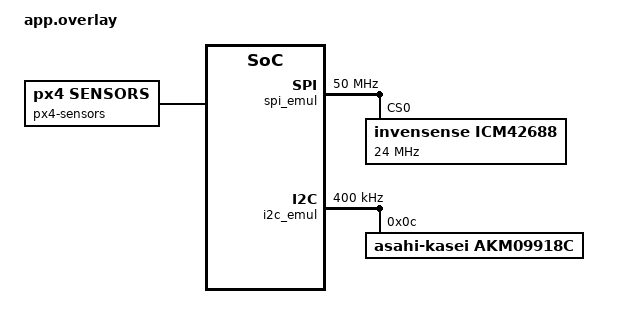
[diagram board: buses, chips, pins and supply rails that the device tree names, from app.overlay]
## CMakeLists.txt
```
############################################################################
#
#   Copyright (c) 2026 PX4 Development Team. All rights reserved.
#
# Redistribution and use in source and binary forms, with or without
# modification, are permitted provided that the following conditions
# are met:
#
# 1. Redistributions of source code must retain the above copyright
#    notice, this list of conditions and the following disclaimer.
# 2. Redistributions in binary form must reproduce the above copyright
#    notice, this list of conditions and the following disclaimer in
#    the documentation and/or other materials provided with the
#    distribution.
# 3. Neither the name PX4 nor the names of its contributors may be
#    used to endorse or promote products derived from this software
#    without specific prior written permission.
#
# THIS SOFTWARE IS PROVIDED BY THE COPYRIGHT HOLDERS AND CONTRIBUTORS
# "AS IS" AND ANY EXPRESS OR IMPLIED WARRANTIES, INCLUDING, BUT NOT
# LIMITED TO, THE IMPLIED WARRANTIES OF MERCHANTABILITY AND FITNESS
# FOR A PARTICULAR PURPOSE ARE DISCLAIMED. IN NO EVENT SHALL THE
# COPYRIGHT OWNER OR CONTRIBUTORS BE LIABLE FOR ANY DIRECT, INDIRECT,
# INCIDENTAL, SPECIAL, EXEMPLARY, OR CONSEQUENTIAL DAMAGES (INCLUDING,
# BUT NOT LIMITED TO, PROCUREMENT OF SUBSTITUTE GOODS OR SERVICES; LOSS
# OF USE, DATA, OR PROFITS; OR BUSINESS INTERRUPTION) HOWEVER CAUSED
# AND ON ANY THEORY OF LIABILITY, WHETHER IN CONTRACT, STRICT
# LIABILITY, OR TORT (INCLUDING NEGLIGENCE OR OTHERWISE) ARISING IN
# ANY WAY OUT OF THE USE OF THIS SOFTWARE, EVEN IF ADVISED OF THE
# POSSIBILITY OF SUCH DAMAGE.
#
############################################################################

cmake_minimum_required(VERSION 3.20.0)

find_package(Zephyr REQUIRED HINTS $ENV{ZEPHYR_BASE})
project(px4_sensors_test)

target_sources(app PRIVATE
	src/fake_baro.c
	src/fake_power_monitor.c
	src/icm42688_emul.c
	src/main.cpp
	src/sensor_values.c
)
target_link_libraries(app PRIVATE px4_interface)
```

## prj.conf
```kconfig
CONFIG_ZTEST=y
CONFIG_ZTEST_STACK_SIZE=4096
CONFIG_PX4=y
CONFIG_PX4_BOARD_CONFIG="zephyr_generic"
CONFIG_EMUL=y
CONFIG_FUEL_GAUGE=y
# the sensor emulators log their reads, many times a second
CONFIG_LOG_DEFAULT_LEVEL=2
CONFIG_SENSOR_LOG_LEVEL_OFF=y
```

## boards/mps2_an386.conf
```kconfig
# a 250 MHz CPU, the speed of a flight controller, to read the FIFO of an IMU at 8 kHz
CONFIG_QEMU_ICOUNT=y
CONFIG_QEMU_ICOUNT_SHIFT=2
```

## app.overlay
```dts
#include <dt-bindings/px4/rotation.h>

/ {
	spi_emul: spi@b0000000 {
		compatible = "zephyr,spi-emul-controller";
		reg = <0xb0000000 0x100>;
		clock-frequency = <50000000>;
		#address-cells = <1>;
		#size-cells = <0>;

		icm42688: icm42688@0 {
			compatible = "invensense,icm42688", "invensense,icm4268x";
			reg = <0>;
			spi-max-frequency = <24000000>;
		};
	};

	i2c_emul: i2c@b0000100 {
		compatible = "zephyr,i2c-emul-controller";
		reg = <0xb0000100 0x100>;
		clock-frequency = <400000>;
		#address-cells = <1>;
		#size-cells = <0>;

		akm09918c: akm09918c@c {
			compatible = "asahi-kasei,akm09918c";
			reg = <0xc>;
		};
	};

	baro: baro {
		compatible = "vnd,baro";
	};

	px4-sensors {
		compatible = "px4,sensors";

		imu0 {
			sensor = <&icm42688>;
			type = "imu";
			rotation = <PX4_ROTATION_YAW_90>;
		};

		mag0 {
			sensor = <&akm09918c>;
			type = "mag";
			external;
		};

		baro0 {
			sensor = <&baro>;
			type = "baro";
		};
	};
};
```

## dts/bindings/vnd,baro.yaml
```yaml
description: Barometer whose readings are set by the test

compatible: "vnd,baro"
```

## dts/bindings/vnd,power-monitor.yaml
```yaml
description: Power monitor whose readings are set by the test

compatible: "vnd,power-monitor"
```

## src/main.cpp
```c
/****************************************************************************
 *
 *   Copyright (c) 2026 PX4 Development Team. All rights reserved.
 *
 * Redistribution and use in source and binary forms, with or without
 * modification, are permitted provided that the following conditions
 * are met:
 *
 * 1. Redistributions of source code must retain the above copyright
 *    notice, this list of conditions and the following disclaimer.
 * 2. Redistributions in binary form must reproduce the above copyright
 *    notice, this list of conditions and the following disclaimer in
 *    the documentation and/or other materials provided with the
 *    distribution.
 * 3. Neither the name PX4 nor the names of its contributors may be
 *    used to endorse or promote products derived from this software
 *    without specific prior written permission.
 *
 * THIS SOFTWARE IS PROVIDED BY THE COPYRIGHT HOLDERS AND CONTRIBUTORS
 * "AS IS" AND ANY EXPRESS OR IMPLIED WARRANTIES, INCLUDING, BUT NOT
 * LIMITED TO, THE IMPLIED WARRANTIES OF MERCHANTABILITY AND FITNESS
 * FOR A PARTICULAR PURPOSE ARE DISCLAIMED. IN NO EVENT SHALL THE
 * COPYRIGHT OWNER OR CONTRIBUTORS BE LIABLE FOR ANY DIRECT, INDIRECT,
 * INCIDENTAL, SPECIAL, EXEMPLARY, OR CONSEQUENTIAL DAMAGES (INCLUDING,
 * BUT NOT LIMITED TO, PROCUREMENT OF SUBSTITUTE GOODS OR SERVICES; LOSS
 * OF USE, DATA, OR PROFITS; OR BUSINESS INTERRUPTION) HOWEVER CAUSED
 * AND ON ANY THEORY OF LIABILITY, WHETHER IN CONTRACT, STRICT
 * LIABILITY, OR TORT (INCLUDING NEGLIGENCE OR OTHERWISE) ARISING IN
 * ANY WAY OUT OF THE USE OF THIS SOFTWARE, EVEN IF ADVISED OF THE
 * POSSIBILITY OF SUCH DAMAGE.
 *
 ****************************************************************************/

#include "sensor_values.h"

#include <drivers/drv_hrt.h>
#include <drivers/drv_sensor.h>
#include <lib/drivers/device/Device.hpp>
#include <mathlib/mathlib.h>
#include <parameters/param.h>
#include <px4_zephyr.h>
#include <uORB/Subscription.hpp>
#include <uORB/SubscriptionMultiArray.hpp>
#include <uORB/topics/battery_status.h>
#include <uORB/topics/sensor_accel.h>
#include <uORB/topics/sensor_baro.h>
#include <uORB/topics/sensor_gyro.h>
#include <uORB/topics/sensor_mag.h>

#include <zephyr/ztest.h>

static constexpr float ACCEL[3] {1.f, -2.f, 9.81f};
static constexpr float GYRO[3] {0.5f, -0.25f, 1.f};
static constexpr float MAG[3] {0.2f, -0.1f, -0.4f};
static constexpr float PRESSURE_KPA{101.325f};
static constexpr float TEMPERATURE{21.5f};
static constexpr float VOLTAGE{16.f};
static constexpr float CURRENT{12.5f};
static constexpr float FUEL_GAUGE_VOLTAGE{22.2f};
static constexpr float FUEL_GAUGE_CURRENT{30.f};

// sensor resolutions: ICM42688 at +-16 g and +-2000 dps, AK09918 0.15 uT
static constexpr float ACCEL_TOLERANCE{0.01f};
static constexpr float GYRO_TOLERANCE{0.002f};
static constexpr float MAG_TOLERANCE{0.003f};
static constexpr float PRESSURE_TOLERANCE{1.f};
static constexpr float TEMPERATURE_TOLERANCE{0.01f};
static constexpr float POWER_TOLERANCE{0.001f};

// longer than the 100 ms between the readings of a power monitor
static constexpr int SAMPLE_TIMEOUT_MS{200};

template<typename T>
static bool wait_for_sample(const orb_metadata *meta, T &sample, hrt_abstime after = 0)
{
	uORB::Subscription subscription{meta};

	for (int i = 0; i < SAMPLE_TIMEOUT_MS; i++) {
		if (subscription.update(&sample) && sample.timestamp >= after) {
			return true;
		}

		k_sleep(K_MSEC(1));
	}

	return false;
}

// a battery_status sample of a battery, from any instance of the topic
template<typename Condition>
static bool wait_for_battery(uint8_t id, battery_status_s &battery, int timeout_ms, Condition condition)
{
	uORB::SubscriptionMultiArray<battery_status_s> subscriptions{ORB_ID::battery_status};

	for (int i = 0; i < timeout_ms; i++) {
		for (auto &subscription : subscriptions) {
			if (subscription.update(&battery) && (battery.id == id) && condition(battery)) {
				return true;
			}
		}

		k_sleep(K_MSEC(1));
	}

	return false;
}

static uint32_t device_id(device::Device::DeviceBusType bus_type, uint8_t bus, uint8_t address, uint8_t devtype)
{
	device::Device::DeviceId id{};
	id.devid_s.bus_type = bus_type;
	id.devid_s.bus = bus;
	id.devid_s.address = address;
	id.devid_s.devtype = devtype;
	return id.devid;
}

static int run(const char *command)
{
	char buffer[64];
	strncpy(buffer, command, sizeof(buffer) - 1);
	buffer[sizeof(buffer) - 1] = '\0';

	char *argv[4] {};
	int argc = 0;
	char *saveptr = nullptr;

	for (char *token = strtok_r(buffer, " ", &saveptr); token != nullptr && argc < 4;
	     token = strtok_r(nullptr, " ", &saveptr)) {
		argv[argc++] = token;
	}

	return px4_zephyr_run_command(argc, argv);
}

static void *setup(void)
{
	zassert_ok(px4_zephyr_init());

	// the power monitor measures battery 2, which is published if its source is a power module
	const int32_t power_module = 0;
	zassert_ok(param_set(param_find("BAT2_SOURCE"), &power_module));

	// the magnetometers are initialized, and reset, when zephyr_sensors starts
	zassert_ok(run("zephyr_sensors start"));

	zassert_ok(sensor_values_set_imu(ACCEL, GYRO));
	zassert_ok(sensor_values_set_mag(MAG));
	sensor_values_set_baro(PRESSURE_KPA, TEMPERATURE);
	sensor_values_set_power(VOLTAGE, CURRENT);

	// wait for the sensors to be read with these values
	k_sleep(K_MSEC(SAMPLE_TIMEOUT_MS));

	return nullptr;
}

static void teardown(void *fixture)
{
	run("zephyr_sensors stop");
}

ZTEST(px4_sensors, test_imu)
{
	sensor_accel_s accel{};
	zassert_true(wait_for_sample(ORB_ID(sensor_accel), accel));

	// rotated by PX4_ROTATION_YAW_90
	zassert_within(accel.x, -ACCEL[1], ACCEL_TOLERANCE, "x %f", (double)accel.x);
	zassert_within(accel.y, ACCEL[0], ACCEL_TOLERANCE, "y %f", (double)accel.y);
	zassert_within(accel.z, ACCEL[2], ACCEL_TOLERANCE, "z %f", (double)accel.z);
	zassert_equal(accel.device_id, device_id(device::Device::DeviceBusType_SPI, 1, 0, DRV_IMU_DEVTYPE_ICM42688P));
	zassert_false(accel.is_external);
	zassert_true(accel.timestamp_sample <= accel.timestamp);
	zassert_true(PX4_ISFINITE(accel.temperature));

	sensor_gyro_s gyro{};
	zassert_true(wait_for_sample(ORB_ID(sensor_gyro), gyro));

	zassert_within(gyro.x, -GYRO[1], GYRO_TOLERANCE, "x %f", (double)gyro.x);
	zassert_within(gyro.y, GYRO[0], GYRO_TOLERANCE, "y %f", (double)gyro.y);
	zassert_within(gyro.z, GYRO[2], GYRO_TOLERANCE, "z %f", (double)gyro.z);
	zassert_equal(gyro.device_id, accel.device_id);
}

ZTEST(px4_sensors, test_imu_interval)
{
	// the IMU is read on time while the barometer, on another bus, converts
	uORB::Subscription subscription{ORB_ID(sensor_accel)};
	sensor_accel_s accel{};
	const hrt_abstime start = hrt_absolute_time();
	hrt_abstime last_sample = 0;
	hrt_abstime max_interval = 0;
	int samples = 0;

	// the queue of sensor_accel holds the samples of more than 4 ms
	for (int i = 0; i < SAMPLE_TIMEOUT_MS / 4; i++) {
		while (subscription.update(&accel)) {
			// the samples before the test, while the test framework printed to the console, which
			// blocks the other threads on hardware, don't count
			if (accel.timestamp_sample < start) {
				continue;
			}

			if (last_sample != 0) {
				max_interval = math::max(max_interval, accel.timestamp_sample - last_sample);
			}

			last_sample = accel.timestamp_sample;
			samples++;
		}

		k_sleep(K_MSEC(4));
	}

	zassert_true(samples > 10, "%d samples", samples);
	zassert_true(max_interval < BARO_CONVERSION_TIME_MS * 1000, "%" PRIu64 " us between samples", max_interval);
}

static void check_mag(hrt_abstime after = 0)
{
	sensor_mag_s mag{};
	zassert_true(wait_for_sample(ORB_ID(sensor_mag), mag, after));

	zassert_within(mag.x, MAG[0], MAG_TOLERANCE, "x %f", (double)mag.x);
	zassert_within(mag.y, MAG[1], MAG_TOLERANCE, "y %f", (double)mag.y);
	zassert_within(mag.z, MAG[2], MAG_TOLERANCE, "z %f", (double)mag.z);
	zassert_equal(mag.device_id, device_id(device::Device::DeviceBusType_I2C, 1, 0xc, DRV_MAG_DEVTYPE_AK09918));
	zassert_true(mag.is_external);
}

ZTEST(px4_sensors, test_mag)
{
	check_mag();
}

ZTEST(px4_sensors, test_absent_sensor)
{
	zassert_false(device_is_ready(DEVICE_DT_GET(DT_NODELABEL(ist8310))));

	k_sleep(K_MSEC(SAMPLE_TIMEOUT_MS));
	zassert_false(uORB::Subscription(ORB_ID(sensor_mag), 1).advertised());
}

ZTEST(px4_sensors, test_restart)
{
	// the optional sensors are found again, without a second initialization
	zassert_ok(run("zephyr_sensors stop"));

	const hrt_abstime restart = hrt_absolute_time();
	zassert_ok(run("zephyr_sensors start"));

	// the emulator has a new sample when it is set
	zassert_ok(sensor_values_set_mag(MAG));
	check_mag(restart);
}

ZTEST(px4_sensors, test_baro)
{
	sensor_baro_s baro{};
	zassert_true(wait_for_sample(ORB_ID(sensor_baro), baro));

	zassert_within(baro.pressure, PRESSURE_KPA * 1000.f, PRESSURE_TOLERANCE, "pressure %f", (double)baro.pressure);
	zassert_within(baro.temperature, TEMPERATURE, TEMPERATURE_TOLERANCE, "temperature %f", (double)baro.temperature);
	zassert_equal(baro.device_id, device_id(device::Device::DeviceBusType_UNKNOWN, 0, 0, DRV_DEVTYPE_UNUSED),
		      "device id 0x%" PRIx32, baro.device_id);
}

ZTEST(px4_sensors, test_power_monitor)
{
	const hrt_abstime after = hrt_absolute_time();
	battery_status_s battery{};
	zassert_true(wait_for_battery(2, battery, SAMPLE_TIMEOUT_MS, [after](const battery_status_s & status) {
		return status.timestamp >= after;
	}));

	zassert_true(battery.connected);
	zassert_within(battery.voltage_v, VOLTAGE, POWER_TOLERANCE, "voltage %f", (double)battery.voltage_v);
	zassert_within(battery.current_a, CURRENT, POWER_TOLERANCE, "current %f", (double)battery.current_a);
	zassert_equal(battery.id, 2);
	zassert_equal(battery.source, battery_status_s::SOURCE_POWER_MODULE);
}

ZTEST(px4_sensors, test_power_monitor_lost)
{
	sensor_values_set_power_lost(true);

	// the battery is disconnected when its power monitor can't be read for 2 s
	battery_status_s battery{};
	const bool disconnected = wait_for_battery(2, battery, 3000, [](const battery_status_s & status) {
		return !status.connected;
	});

	sensor_values_set_power_lost(false);

	zassert_true(disconnected);
	zassert_equal(battery.voltage_v, 0.f);
	zassert_equal(battery.current_a, -1.f);
}

ZTEST(px4_sensors, test_fuel_gauge)
{
	// the emulated fuel gauge is reset after each test
	zassert_ok(sensor_values_set_fuel_gauge(FUEL_GAUGE_VOLTAGE, -FUEL_GAUGE_CURRENT));

	const hrt_abstime after = hrt_absolute_time();
	battery_status_s battery{};
	zassert_true(wait_for_battery(1, battery, SAMPLE_TIMEOUT_MS, [after](const battery_status_s & status) {
		return status.timestamp >= after;
	}));

	zassert_true(battery.connected);
	zassert_within(battery.voltage_v, FUEL_GAUGE_VOLTAGE, POWER_TOLERANCE, "voltage %f", (double)battery.voltage_v);
	zassert_within(battery.current_a, FUEL_GAUGE_CURRENT, POWER_TOLERANCE, "current %f", (double)battery.current_a);

	// the other registers of the emulated fuel gauge read 1
	zassert_within(battery.remaining, 0.01f, 1e-6f, "remaining %f", (double)battery.remaining);
	zassert_equal(battery.warning, battery_status_s::WARNING_EMERGENCY);
	zassert_equal(battery.capacity, 1);
	zassert_equal(battery.cycle_count, 1);
	zassert_within(battery.time_remaining_s, 60.f, 1e-3f, "time remaining %f", (double)battery.time_remaining_s);
	zassert_within(battery.discharged_mah, 0.f, 1e-6f, "discharged %f", (double)battery.discharged_mah);
}

ZTEST_SUITE(px4_sensors, NULL, setup, NULL, NULL, teardown);
```

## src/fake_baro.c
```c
/****************************************************************************
 *
 *   Copyright (c) 2026 PX4 Development Team. All rights reserved.
 *
 * Redistribution and use in source and binary forms, with or without
 * modification, are permitted provided that the following conditions
 * are met:
 *
 * 1. Redistributions of source code must retain the above copyright
 *    notice, this list of conditions and the following disclaimer.
 * 2. Redistributions in binary form must reproduce the above copyright
 *    notice, this list of conditions and the following disclaimer in
 *    the documentation and/or other materials provided with the
 *    distribution.
 * 3. Neither the name PX4 nor the names of its contributors may be
 *    used to endorse or promote products derived from this software
 *    without specific prior written permission.
 *
 * THIS SOFTWARE IS PROVIDED BY THE COPYRIGHT HOLDERS AND CONTRIBUTORS
 * "AS IS" AND ANY EXPRESS OR IMPLIED WARRANTIES, INCLUDING, BUT NOT
 * LIMITED TO, THE IMPLIED WARRANTIES OF MERCHANTABILITY AND FITNESS
 * FOR A PARTICULAR PURPOSE ARE DISCLAIMED. IN NO EVENT SHALL THE
 * COPYRIGHT OWNER OR CONTRIBUTORS BE LIABLE FOR ANY DIRECT, INDIRECT,
 * INCIDENTAL, SPECIAL, EXEMPLARY, OR CONSEQUENTIAL DAMAGES (INCLUDING,
 * BUT NOT LIMITED TO, PROCUREMENT OF SUBSTITUTE GOODS OR SERVICES; LOSS
 * OF USE, DATA, OR PROFITS; OR BUSINESS INTERRUPTION) HOWEVER CAUSED
 * AND ON ANY THEORY OF LIABILITY, WHETHER IN CONTRACT, STRICT
 * LIABILITY, OR TORT (INCLUDING NEGLIGENCE OR OTHERWISE) ARISING IN
 * ANY WAY OUT OF THE USE OF THIS SOFTWARE, EVEN IF ADVISED OF THE
 * POSSIBILITY OF SUCH DAMAGE.
 *
 ****************************************************************************/

/*
 * Barometer that only implements the sensor fetch and get API, to test the
 * RTIO fallback of the Zephyr sensor API.
 */

#define DT_DRV_COMPAT vnd_baro

#include <zephyr/device.h>
#include <zephyr/drivers/sensor.h>

struct fake_baro_data {
	struct sensor_value pressure;
	struct sensor_value temperature;
};

void fake_baro_set(const struct device *dev, float pressure_kpa, float temperature)
{
	struct fake_baro_data *data = dev->data;

	sensor_value_from_float(&data->pressure, pressure_kpa);
	sensor_value_from_float(&data->temperature, temperature);
}

static int fake_baro_sample_fetch(const struct device *dev, enum sensor_channel chan)
{
	return 0;
}

static int fake_baro_channel_get(const struct device *dev, enum sensor_channel chan,
				 struct sensor_value *val)
{
	const struct fake_baro_data *data = dev->data;

	switch (chan) {
	case SENSOR_CHAN_PRESS:
		*val = data->pressure;
		return 0;

	case SENSOR_CHAN_AMBIENT_TEMP:
		*val = data->temperature;
		return 0;

	default:
		return -ENOTSUP;
	}
}

static DEVICE_API(sensor, fake_baro_api) = {
	.sample_fetch = fake_baro_sample_fetch,
	.channel_get = fake_baro_channel_get,
};

#define FAKE_BARO_DEFINE(inst)                                                                     \
	static struct fake_baro_data fake_baro_data_##inst;                                        \
	SENSOR_DEVICE_DT_INST_DEFINE(inst, NULL, NULL, &fake_baro_data_##inst, NULL, POST_KERNEL,  \
				     CONFIG_SENSOR_INIT_PRIORITY, &fake_baro_api);

DT_INST_FOREACH_STATUS_OKAY(FAKE_BARO_DEFINE)
```

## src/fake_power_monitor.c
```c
/****************************************************************************
 *
 *   Copyright (c) 2026 PX4 Development Team. All rights reserved.
 *
 * Redistribution and use in source and binary forms, with or without
 * modification, are permitted provided that the following conditions
 * are met:
 *
 * 1. Redistributions of source code must retain the above copyright
 *    notice, this list of conditions and the following disclaimer.
 * 2. Redistributions in binary form must reproduce the above copyright
 *    notice, this list of conditions and the following disclaimer in
 *    the documentation and/or other materials provided with the
 *    distribution.
 * 3. Neither the name PX4 nor the names of its contributors may be
 *    used to endorse or promote products derived from this software
 *    without specific prior written permission.
 *
 * THIS SOFTWARE IS PROVIDED BY THE COPYRIGHT HOLDERS AND CONTRIBUTORS
 * "AS IS" AND ANY EXPRESS OR IMPLIED WARRANTIES, INCLUDING, BUT NOT
 * LIMITED TO, THE IMPLIED WARRANTIES OF MERCHANTABILITY AND FITNESS
 * FOR A PARTICULAR PURPOSE ARE DISCLAIMED. IN NO EVENT SHALL THE
 * COPYRIGHT OWNER OR CONTRIBUTORS BE LIABLE FOR ANY DIRECT, INDIRECT,
 * INCIDENTAL, SPECIAL, EXEMPLARY, OR CONSEQUENTIAL DAMAGES (INCLUDING,
 * BUT NOT LIMITED TO, PROCUREMENT OF SUBSTITUTE GOODS OR SERVICES; LOSS
 * OF USE, DATA, OR PROFITS; OR BUSINESS INTERRUPTION) HOWEVER CAUSED
 * AND ON ANY THEORY OF LIABILITY, WHETHER IN CONTRACT, STRICT
 * LIABILITY, OR TORT (INCLUDING NEGLIGENCE OR OTHERWISE) ARISING IN
 * ANY WAY OUT OF THE USE OF THIS SOFTWARE, EVEN IF ADVISED OF THE
 * POSSIBILITY OF SUCH DAMAGE.
 *
 ****************************************************************************/


/*
 * Power monitor that only implements the sensor fetch and get API, as the
 * Zephyr INA2xx drivers.
 */

#define DT_DRV_COMPAT vnd_power_monitor

#include <zephyr/device.h>
#include <zephyr/drivers/sensor.h>

struct fake_power_monitor_data {
	struct sensor_value voltage;
	struct sensor_value current;
	bool lost;
};

void fake_power_monitor_set(const struct device *dev, float voltage, float current)
{
	struct fake_power_monitor_data *data = dev->data;

	sensor_value_from_float(&data->voltage, voltage);
	sensor_value_from_float(&data->current, current);
}

void fake_power_monitor_set_lost(const struct device *dev, bool lost)
{
	struct fake_power_monitor_data *data = dev->data;

	data->lost = lost;
}

static int fake_power_monitor_sample_fetch(const struct device *dev, enum sensor_channel chan)
{
	const struct fake_power_monitor_data *data = dev->data;

	return data->lost ? -EIO : 0;
}

static int fake_power_monitor_channel_get(const struct device *dev, enum sensor_channel chan,
		struct sensor_value *val)
{
	const struct fake_power_monitor_data *data = dev->data;

	switch (chan) {
	case SENSOR_CHAN_VOLTAGE:
		*val = data->voltage;
		return 0;

	case SENSOR_CHAN_CURRENT:
		*val = data->current;
		return 0;

	default:
		return -ENOTSUP;
	}
}

static DEVICE_API(sensor, fake_power_monitor_api) = {
	.sample_fetch = fake_power_monitor_sample_fetch,
	.channel_get = fake_power_monitor_channel_get,
};

#define FAKE_POWER_MONITOR_DEFINE(inst)                                                            \
	static struct fake_power_monitor_data fake_power_monitor_data_##inst;                      \
	SENSOR_DEVICE_DT_INST_DEFINE(inst, NULL, NULL, &fake_power_monitor_data_##inst, NULL,      \
				     POST_KERNEL, CONFIG_SENSOR_INIT_PRIORITY,                     \
				     &fake_power_monitor_api);

DT_INST_FOREACH_STATUS_OKAY(FAKE_POWER_MONITOR_DEFINE)
```

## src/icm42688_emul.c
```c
/****************************************************************************
 *
 *   Copyright (c) 2026 PX4 Development Team. All rights reserved.
 *
 * Redistribution and use in source and binary forms, with or without
 * modification, are permitted provided that the following conditions
 * are met:
 *
 * 1. Redistributions of source code must retain the above copyright
 *    notice, this list of conditions and the following disclaimer.
 * 2. Redistributions in binary form must reproduce the above copyright
 *    notice, this list of conditions and the following disclaimer in
 *    the documentation and/or other materials provided with the
 *    distribution.
 * 3. Neither the name PX4 nor the names of its contributors may be
 *    used to endorse or promote products derived from this software
 *    without specific prior written permission.
 *
 * THIS SOFTWARE IS PROVIDED BY THE COPYRIGHT HOLDERS AND CONTRIBUTORS
 * "AS IS" AND ANY EXPRESS OR IMPLIED WARRANTIES, INCLUDING, BUT NOT
 * LIMITED TO, THE IMPLIED WARRANTIES OF MERCHANTABILITY AND FITNESS
 * FOR A PARTICULAR PURPOSE ARE DISCLAIMED. IN NO EVENT SHALL THE
 * COPYRIGHT OWNER OR CONTRIBUTORS BE LIABLE FOR ANY DIRECT, INDIRECT,
 * INCIDENTAL, SPECIAL, EXEMPLARY, OR CONSEQUENTIAL DAMAGES (INCLUDING,
 * BUT NOT LIMITED TO, PROCUREMENT OF SUBSTITUTE GOODS OR SERVICES; LOSS
 * OF USE, DATA, OR PROFITS; OR BUSINESS INTERRUPTION) HOWEVER CAUSED
 * AND ON ANY THEORY OF LIABILITY, WHETHER IN CONTRACT, STRICT
 * LIABILITY, OR TORT (INCLUDING NEGLIGENCE OR OTHERWISE) ARISING IN
 * ANY WAY OUT OF THE USE OF THIS SOFTWARE, EVEN IF ADVISED OF THE
 * POSSIBILITY OF SUCH DAMAGE.
 *
 ****************************************************************************/

/*
 * ICM-42688-P emulator with a FIFO, instead of the Zephyr emulator, which has none, to test the
 * streaming of the FIFO by the icm4268x driver. The FIFO is filled at the output data rate of the
 * gyroscope with the values set by the test, as from the hardware. Its INT1 pin pulses each time
 * the FIFO watermark is reached, unless the test disables it.
 */

#define DT_DRV_COMPAT invensense_icm42688

#include <math.h>

#include <zephyr/device.h>
#include <zephyr/drivers/emul.h>
#include <zephyr/drivers/gpio.h>
#include <zephyr/drivers/gpio/gpio_emul.h>
#include <zephyr/drivers/spi.h>
#include <zephyr/drivers/spi_emul.h>
#include <zephyr/kernel.h>
#include <zephyr/spinlock.h>
#include <zephyr/sys/byteorder.h>
#include <zephyr/sys/util.h>

/* registers of bank 0 */
#define REG_DEVICE_CONFIG     0x11
#define REG_FIFO_CONFIG       0x16
#define REG_TEMP_DATA1        0x1d
#define REG_ACCEL_DATA_X1     0x1f
#define REG_GYRO_DATA_X1      0x25
#define REG_INT_STATUS        0x2d
#define REG_FIFO_COUNTH       0x2e
#define REG_FIFO_COUNTL       0x2f
#define REG_FIFO_DATA         0x30
#define REG_SIGNAL_PATH_RESET 0x4b
#define REG_GYRO_CONFIG0      0x4f
#define REG_ACCEL_CONFIG0     0x50
#define REG_FIFO_CONFIG1      0x5f
#define REG_FIFO_CONFIG2      0x60
#define REG_FIFO_CONFIG3      0x61
#define REG_INT_SOURCE0       0x65
#define REG_WHO_AM_I          0x75
#define REG_BANK_SEL          0x76
#define REG_COUNT             0x80

#define READ_BIT          BIT(7)
#define WHO_AM_I_ICM42688 0x47

#define SOFT_RESET_CONFIG BIT(0)
#define FIFO_MODE_MASK    GENMASK(7, 6)
#define FIFO_MODE_STREAM  BIT(6)
#define FIFO_FULL_INT     BIT(1)
#define FIFO_THS_INT      BIT(2)
#define DATA_RDY_INT      BIT(3)
#define RESET_DONE_INT    BIT(4)
#define FIFO_FLUSH        BIT(1)
#define FIFO_HIRES_EN     BIT(4)
#define FIFO_THS_INT1_EN  BIT(2)
#define ODR_MASK          GENMASK(3, 0)
#define FS_SEL_MASK       GENMASK(7, 5)

/* FIFO packets of accelerometer, gyroscope, temperature and timestamp */
#define FIFO_SIZE          2048
#define PACKET_SIZE        16
#define PACKET_SIZE_HIRES  20
#define PACKET_HEADER      (BIT(6) | BIT(5) | BIT(3))
#define PACKET_HEADER_20   BIT(4)
#define PACKET_EMPTY       0x80

#define G                  9.80665f
#define RADIANS_PER_DEGREE 0.0174532925f
#define HIRES_FULL_SCALE   BIT(19)
#define TEMP_SENSITIVITY   132.48f
#define TEMP_SENSITIVITY_8 2.07f

struct icm42688_emul_config {
	struct gpio_dt_spec int_gpio;
};

struct icm42688_emul_data {
	const struct emul *target;
	struct k_spinlock lock;
	struct k_timer watermark_timer;
	uint8_t reg[REG_COUNT];
	uint8_t bank;
	float accel[3];		/* m/s^2 */
	float gyro[3];		/* rad/s */
	float temperature;	/* degrees Celsius */
	bool interrupt;
	int64_t fifo_start;	/* ticks */
	uint32_t fifo_packets;	/* read or flushed since the FIFO started */
	uint32_t fifo_offset;	/* bytes read of the next packet */
	uint8_t packet[PACKET_SIZE_HIRES];
};

static uint32_t odr_hz(uint8_t config0)
{
	static const uint32_t odr[16] = {
		[1] = 32000, [2] = 16000, [3] = 8000, [4] = 4000, [5] = 2000, [6] = 1000,
		[7] = 200, [8] = 100, [9] = 50, [10] = 25, [15] = 500,
	};

	return odr[FIELD_GET(ODR_MASK, config0)];
}

static float accel_full_scale(const struct icm42688_emul_data *data)
{
	return (float)(16 >> FIELD_GET(FS_SEL_MASK, data->reg[REG_ACCEL_CONFIG0])) * G;
}

static float gyro_full_scale(const struct icm42688_emul_data *data)
{
	return 2000.f / (float)BIT(FIELD_GET(FS_SEL_MASK, data->reg[REG_GYRO_CONFIG0])) * RADIANS_PER_DEGREE;
}

static int32_t to_raw(float value, float full_scale, int32_t counts)
{
	/* the lowest count marks invalid samples */
	return CLAMP(lroundf(value / full_scale * (float)counts), 1 - counts, counts - 1);
}

static bool fifo_hires(const struct icm42688_emul_data *data)
{
	return (data->reg[REG_FIFO_CONFIG1] & FIFO_HIRES_EN) != 0;
}

static uint32_t packet_size(const struct icm42688_emul_data *data)
{
	return fifo_hires(data) ? PACKET_SIZE_HIRES : PACKET_SIZE;
}

static uint32_t watermark_packets(const struct icm42688_emul_data *data)
{
	const uint32_t watermark = data->reg[REG_FIFO_CONFIG2] | ((data->reg[REG_FIFO_CONFIG3] & 0x0f) << 8);

	return DIV_ROUND_UP(watermark, packet_size(data));
}

static bool fifo_running(const struct icm42688_emul_data *data)
{
	return (data->reg[REG_FIFO_CONFIG] & FIFO_MODE_MASK) == FIFO_MODE_STREAM;
}

/* packets in the FIFO, of which the oldest are lost when it is full */
static uint32_t fifo_count(struct icm42688_emul_data *data)
{
	if (!fifo_running(data)) {
		return 0;
	}

	const uint64_t generated = (uint64_t)(k_uptime_ticks() - data->fifo_start) *
				   odr_hz(data->reg[REG_GYRO_CONFIG0]) / CONFIG_SYS_CLOCK_TICKS_PER_SEC;
	const uint32_t capacity = FIFO_SIZE / packet_size(data);
	uint32_t count = (uint32_t)(generated - data->fifo_packets);

	if (count > capacity) {
		data->reg[REG_INT_STATUS] |= FIFO_FULL_INT;
		data->fifo_packets += count - capacity;
		data->fifo_offset = 0;
		count = capacity;
	}

	return count;
}

/* the FIFO restarts empty, and reaches its watermark every watermark samples */
static void fifo_restart(struct icm42688_emul_data *data)
{
	const uint32_t odr = odr_hz(data->reg[REG_GYRO_CONFIG0]);
	const uint32_t watermark = watermark_packets(data);

	data->fifo_start = k_uptime_ticks();
	data->fifo_packets = 0;
	data->fifo_offset = 0;

	if (fifo_running(data) && (odr > 0) && (watermark > 0)) {
		const k_timeout_t period = K_TICKS((uint64_t)watermark * CONFIG_SYS_CLOCK_TICKS_PER_SEC / odr);

		k_timer_start(&data->watermark_timer, period, period);

	} else {
		k_timer_stop(&data->watermark_timer);
	}
}

static void encode_packet(const struct icm42688_emul_data *data, uint8_t *packet)
{
	const float temperature = data->temperature - 25.f;

	if (fifo_hires(data)) {
		/* 20 bits, at the largest full scale */
		packet[0] = PACKET_HEADER | PACKET_HEADER_20;

		for (int axis = 0; axis < 3; axis++) {
			const int32_t accel = to_raw(data->accel[axis], 16.f * G, HIRES_FULL_SCALE);
			const int32_t gyro = to_raw(data->gyro[axis], 2000.f * RADIANS_PER_DEGREE, HIRES_FULL_SCALE);

			sys_put_be16((uint16_t)(accel >> 4), &packet[1 + 2 * axis]);
			sys_put_be16((uint16_t)(gyro >> 4), &packet[7 + 2 * axis]);
			packet[17 + axis] = ((accel & 0x0f) << 4) | (gyro & 0x0f);
		}

		sys_put_be16((uint16_t)lroundf(temperature * TEMP_SENSITIVITY), &packet[13]);
		sys_put_be16(0, &packet[15]);

	} else {
		packet[0] = PACKET_HEADER;

		for (int axis = 0; axis < 3; axis++) {
			sys_put_be16((uint16_t)to_raw(data->accel[axis], accel_full_scale(data), BIT(15)),
				     &packet[1 + 2 * axis]);
			sys_put_be16((uint16_t)to_raw(data->gyro[axis], gyro_full_scale(data), BIT(15)),
				     &packet[7 + 2 * axis]);
		}

		packet[13] = (uint8_t)lroundf(temperature * TEMP_SENSITIVITY_8);
		sys_put_be16(0, &packet[14]);
	}
}

static uint8_t fifo_read(struct icm42688_emul_data *data)
{
	if (data->fifo_offset == 0) {
		if (fifo_count(data) == 0) {
			return PACKET_EMPTY;
		}

		encode_packet(data, data->packet);
	}

	const uint8_t value = data->packet[data->fifo_offset++];

	if (data->fifo_offset == packet_size(data)) {
		data->fifo_offset = 0;
		data->fifo_packets++;
	}

	return value;
}

static uint8_t reg_read(struct icm42688_emul_data *data, uint8_t reg)
{
	uint8_t value[2];

	switch (reg) {
	case REG_TEMP_DATA1:
	case REG_TEMP_DATA1 + 1:
		sys_put_be16((uint16_t)lroundf((data->temperature - 25.f) * TEMP_SENSITIVITY), value);
		return value[reg - REG_TEMP_DATA1];

	case REG_ACCEL_DATA_X1 ... REG_ACCEL_DATA_X1 + 5:
		sys_put_be16((uint16_t)to_raw(data->accel[(reg - REG_ACCEL_DATA_X1) / 2], accel_full_scale(data),
					      BIT(15)), value);
		return value[(reg - REG_ACCEL_DATA_X1) % 2];

	case REG_GYRO_DATA_X1 ... REG_GYRO_DATA_X1 + 5:
		sys_put_be16((uint16_t)to_raw(data->gyro[(reg - REG_GYRO_DATA_X1) / 2], gyro_full_scale(data),
					      BIT(15)), value);
		return value[(reg - REG_GYRO_DATA_X1) % 2];

	case REG_INT_STATUS: {
			/* the interrupts are cleared when they are read */
			const uint8_t status = data->reg[REG_INT_STATUS] | DATA_RDY_INT;

			data->reg[REG_INT_STATUS] = 0;
			return status;
		}

	case REG_FIFO_COUNTH:
	case REG_FIFO_COUNTL:
		sys_put_be16((uint16_t)(fifo_count(data) * packet_size(data)), value);
		return value[reg - REG_FIFO_COUNTH];

	default:
		return (reg < REG_COUNT) ? data->reg[reg] : 0;
	}
}

static void reg_write(struct icm42688_emul_data *data, uint8_t reg, uint8_t value)
{
	if (reg == REG_BANK_SEL) {
		data->bank = value;
		return;
	}

	if ((data->bank != 0) || (reg >= REG_COUNT)) {
		return;
	}

	switch (reg) {
	case REG_DEVICE_CONFIG:
		if (value & SOFT_RESET_CONFIG) {
			memset(data->reg, 0, sizeof(data->reg));
			data->reg[REG_WHO_AM_I] = WHO_AM_I_ICM42688;
			data->reg[REG_INT_STATUS] = RESET_DONE_INT;
			fifo_restart(data);
		}

		break;

	case REG_SIGNAL_PATH_RESET:
		if (value & FIFO_FLUSH) {
			fifo_restart(data);
		}

		break;

	case REG_FIFO_CONFIG:
		data->reg[reg] = value;
		fifo_restart(data);
		break;

	default:
		data->reg[reg] = value;
		break;
	}
}

static void icm42688_emul_watermark(struct k_timer *timer)
{
	struct icm42688_emul_data *data = CONTAINER_OF(timer, struct icm42688_emul_data, watermark_timer);
	const struct icm42688_emul_config *config = data->target->cfg;
	bool pulse = false;

	K_SPINLOCK(&data->lock) {
		if (fifo_count(data) >= watermark_packets(data)) {
			data->reg[REG_INT_STATUS] |= FIFO_THS_INT;
			pulse = data->interrupt && (data->reg[REG_INT_SOURCE0] & FIFO_THS_INT1_EN);
		}
	}

	if (pulse) {
		gpio_emul_input_set(config->int_gpio.port, config->int_gpio.pin, 1);
		gpio_emul_input_set(config->int_gpio.port, config->int_gpio.pin, 0);
	}
}

void icm42688_emul_set(const struct emul *target, const float accel[3], const float gyro[3],
		       float temperature)
{
	struct icm42688_emul_data *data = target->data;

	K_SPINLOCK(&data->lock) {
		memcpy(data->accel, accel, sizeof(data->accel));
		memcpy(data->gyro, gyro, sizeof(data->gyro));
		data->temperature = temperature;
	}
}

void icm42688_emul_set_interrupt(const struct emul *target, bool enabled)
{
	struct icm42688_emul_data *data = target->data;

	K_SPINLOCK(&data->lock) {
		data->interrupt = enabled;
	}
}

static int icm42688_emul_io(const struct emul *target, const struct spi_config *config,
			    const struct spi_buf_set *tx_bufs, const struct spi_buf_set *rx_bufs)
{
	struct icm42688_emul_data *data = target->data;

	if ((tx_bufs == NULL) || (tx_bufs->count < 1) || (tx_bufs->buffers[0].len != 1)) {
		return -EINVAL;
	}

	const uint8_t address = *(const uint8_t *)tx_bufs->buffers[0].buf;
	const uint8_t reg = address & ~READ_BIT;

	/* the register address is followed by the data, as a second buffer */
	if (address & READ_BIT) {
		if ((rx_bufs == NULL) || (rx_bufs->count < 2)) {
			return -EINVAL;
		}

		uint8_t *rx = rx_bufs->buffers[1].buf;

		K_SPINLOCK(&data->lock) {
			for (size_t i = 0; i < rx_bufs->buffers[1].len; i++) {
				/* the FIFO is read from a single register */
				rx[i] = (reg == REG_FIFO_DATA) ? fifo_read(data) : reg_read(data, reg + i);
			}
		}

	} else {
		if (tx_bufs->count < 2) {
			return -EINVAL;
		}

		const uint8_t *tx = tx_bufs->buffers[1].buf;

		K_SPINLOCK(&data->lock) {
			for (size_t i = 0; i < tx_bufs->buffers[1].len; i++) {
				reg_write(data, reg + i, tx[i]);
			}
		}
	}

	return 0;
}

static const struct spi_emul_api icm42688_emul_api = {
	.io = icm42688_emul_io,
};

static int icm42688_emul_init(const struct emul *target, const struct device *parent)
{
	struct icm42688_emul_data *data = target->data;

	data->target = target;
	data->reg[REG_WHO_AM_I] = WHO_AM_I_ICM42688;
	data->interrupt = true;
	k_timer_init(&data->watermark_timer, icm42688_emul_watermark, NULL);

	return 0;
}

#define ICM42688_EMUL_DEFINE(n)                                                                    \
	static const struct icm42688_emul_config icm42688_emul_config_##n = {                      \
		.int_gpio = GPIO_DT_SPEC_INST_GET(n, int_gpios),                                   \
	};                                                                                         \
	static struct icm42688_emul_data icm42688_emul_data_##n;                                   \
	EMUL_DT_INST_DEFINE(n, icm42688_emul_init, &icm42688_emul_data_##n,                        \
			    &icm42688_emul_config_##n, &icm42688_emul_api, NULL)

DT_INST_FOREACH_STATUS_OKAY(ICM42688_EMUL_DEFINE)
```

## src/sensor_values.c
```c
/****************************************************************************
 *
 *   Copyright (c) 2026 PX4 Development Team. All rights reserved.
 *
 * Redistribution and use in source and binary forms, with or without
 * modification, are permitted provided that the following conditions
 * are met:
 *
 * 1. Redistributions of source code must retain the above copyright
 *    notice, this list of conditions and the following disclaimer.
 * 2. Redistributions in binary form must reproduce the above copyright
 *    notice, this list of conditions and the following disclaimer in
 *    the documentation and/or other materials provided with the
 *    distribution.
 * 3. Neither the name PX4 nor the names of its contributors may be
 *    used to endorse or promote products derived from this software
 *    without specific prior written permission.
 *
 * THIS SOFTWARE IS PROVIDED BY THE COPYRIGHT HOLDERS AND CONTRIBUTORS
 * "AS IS" AND ANY EXPRESS OR IMPLIED WARRANTIES, INCLUDING, BUT NOT
 * LIMITED TO, THE IMPLIED WARRANTIES OF MERCHANTABILITY AND FITNESS
 * FOR A PARTICULAR PURPOSE ARE DISCLAIMED. IN NO EVENT SHALL THE
 * COPYRIGHT OWNER OR CONTRIBUTORS BE LIABLE FOR ANY DIRECT, INDIRECT,
 * INCIDENTAL, SPECIAL, EXEMPLARY, OR CONSEQUENTIAL DAMAGES (INCLUDING,
 * BUT NOT LIMITED TO, PROCUREMENT OF SUBSTITUTE GOODS OR SERVICES; LOSS
 * OF USE, DATA, OR PROFITS; OR BUSINESS INTERRUPTION) HOWEVER CAUSED
 * AND ON ANY THEORY OF LIABILITY, WHETHER IN CONTRACT, STRICT
 * LIABILITY, OR TORT (INCLUDING NEGLIGENCE OR OTHERWISE) ARISING IN
 * ANY WAY OUT OF THE USE OF THIS SOFTWARE, EVEN IF ADVISED OF THE
 * POSSIBILITY OF SUCH DAMAGE.
 *
 ****************************************************************************/

#include "sensor_values.h"

#include <math.h>

#include <zephyr/device.h>
#include <zephyr/drivers/emul.h>
#include <zephyr/drivers/emul_sensor.h>

void fake_baro_set(const struct device *dev, float pressure_kpa, float temperature);

static int set_channel(const struct emul *emul, enum sensor_channel channel, float value)
{
	const struct sensor_chan_spec spec = {channel, 0};
	q31_t lower;
	q31_t upper;
	q31_t epsilon;
	int8_t shift;

	int ret = emul_sensor_backend_get_sample_range(emul, spec, &lower, &upper, &epsilon, &shift);

	if (ret != 0) {
		return ret;
	}

	const q31_t q31 = (q31_t)llroundf(ldexpf(value, 31 - shift));

	return emul_sensor_backend_set_channel(emul, spec, &q31, shift);
}

static int set_three_axis(const struct emul *emul, enum sensor_channel x, const float values[3])
{
	int ret = 0;

	/* the Y and Z channels follow X */
	for (int axis = 0; axis < 3 && ret == 0; axis++) {
		ret = set_channel(emul, x + axis, values[axis]);
	}

	return ret;
}

int sensor_values_set_imu(const float accel[3], const float gyro[3])
{
	const struct emul *emul = EMUL_DT_GET(DT_NODELABEL(icm42688));
	int ret = set_three_axis(emul, SENSOR_CHAN_ACCEL_X, accel);

	if (ret == 0) {
		ret = set_three_axis(emul, SENSOR_CHAN_GYRO_X, gyro);
	}

	return ret;
}

int sensor_values_set_mag(const float mag[3])
{
	return set_three_axis(EMUL_DT_GET(DT_NODELABEL(akm09918c)), SENSOR_CHAN_MAGN_X, mag);
}

void sensor_values_set_baro(float pressure_kpa, float temperature)
{
	fake_baro_set(DEVICE_DT_GET(DT_NODELABEL(baro)), pressure_kpa, temperature);
}
```

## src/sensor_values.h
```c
/****************************************************************************
 *
 *   Copyright (c) 2026 PX4 Development Team. All rights reserved.
 *
 * Redistribution and use in source and binary forms, with or without
 * modification, are permitted provided that the following conditions
 * are met:
 *
 * 1. Redistributions of source code must retain the above copyright
 *    notice, this list of conditions and the following disclaimer.
 * 2. Redistributions in binary form must reproduce the above copyright
 *    notice, this list of conditions and the following disclaimer in
 *    the documentation and/or other materials provided with the
 *    distribution.
 * 3. Neither the name PX4 nor the names of its contributors may be
 *    used to endorse or promote products derived from this software
 *    without specific prior written permission.
 *
 * THIS SOFTWARE IS PROVIDED BY THE COPYRIGHT HOLDERS AND CONTRIBUTORS
 * "AS IS" AND ANY EXPRESS OR IMPLIED WARRANTIES, INCLUDING, BUT NOT
 * LIMITED TO, THE IMPLIED WARRANTIES OF MERCHANTABILITY AND FITNESS
 * FOR A PARTICULAR PURPOSE ARE DISCLAIMED. IN NO EVENT SHALL THE
 * COPYRIGHT OWNER OR CONTRIBUTORS BE LIABLE FOR ANY DIRECT, INDIRECT,
 * INCIDENTAL, SPECIAL, EXEMPLARY, OR CONSEQUENTIAL DAMAGES (INCLUDING,
 * BUT NOT LIMITED TO, PROCUREMENT OF SUBSTITUTE GOODS OR SERVICES; LOSS
 * OF USE, DATA, OR PROFITS; OR BUSINESS INTERRUPTION) HOWEVER CAUSED
 * AND ON ANY THEORY OF LIABILITY, WHETHER IN CONTRACT, STRICT
 * LIABILITY, OR TORT (INCLUDING NEGLIGENCE OR OTHERWISE) ARISING IN
 * ANY WAY OUT OF THE USE OF THIS SOFTWARE, EVEN IF ADVISED OF THE
 * POSSIBILITY OF SUCH DAMAGE.
 *
 ****************************************************************************/

#pragma once

#include <stdbool.h>

#ifdef __cplusplus
extern "C" {
#endif

/* SI units, as the Zephyr sensor API */
int sensor_values_set_imu(const float accel[3], const float gyro[3]);
int sensor_values_set_mag(const float mag[3]);
void sensor_values_set_baro(float pressure_kpa, float temperature);
void sensor_values_set_power(float voltage, float current);

/* the power monitor fails to read while it is lost */
void sensor_values_set_power_lost(bool lost);

#ifdef __cplusplus
}
#endif
```
